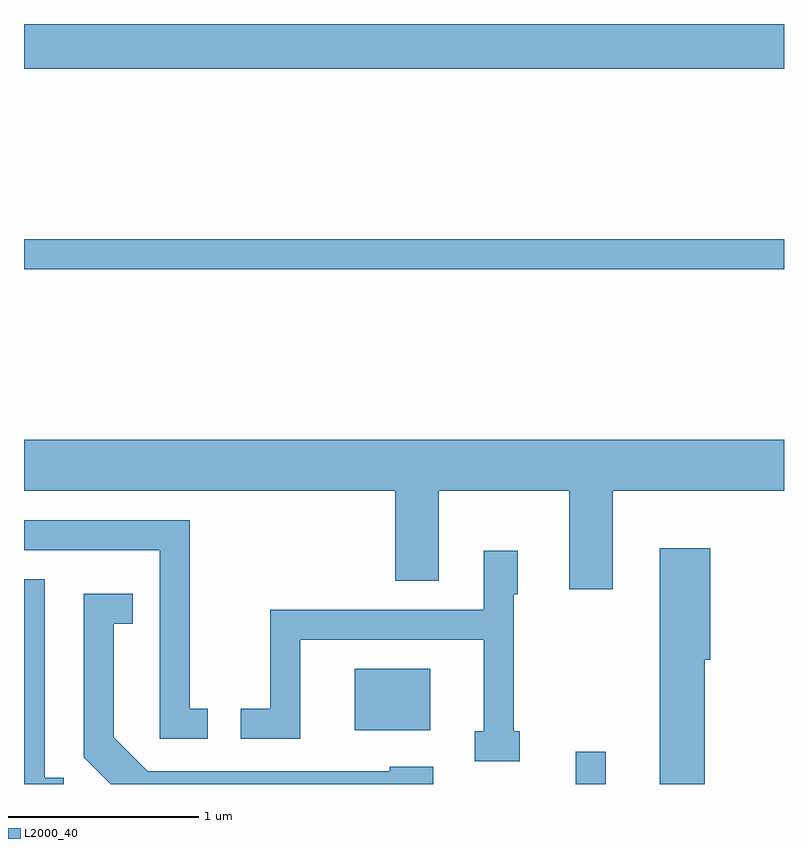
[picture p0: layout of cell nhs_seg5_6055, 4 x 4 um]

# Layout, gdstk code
import gdstk
lib = gdstk.Library(unit=1e-6, precision=1e-09)
def R(c, l, rs):  # rectangles x0, y0, x1, y1
    for r in rs: c.add(gdstk.rectangle(r[:2], r[2:], *l))
def P(c, l, *ps):  # polygons
    for p in ps: c.add(gdstk.Polygon(p, *l))
L2000_40 = (2000, 40)

nhs_seg5_6055 = lib.new_cell('nhs_seg5_6055')
R(nhs_seg5_6055, L2000_40, [(366.516,1524.072,366.674,1524.243), (365.351,1524.356,365.749,1524.679), (363.611,1526.781,367.611,1526.939), (363.611,1527.836,367.611,1528.072)])
P(nhs_seg5_6055, L2000_40, [(366.709,1525.616),(367.611,1525.616),(367.611,1525.884),(363.611,1525.884),(363.611,1525.616),(365.566,1525.616),(365.566,1525.141),(365.794,1525.141),(365.794,1525.616),(366.481,1525.616),(366.481,1525.096),(366.709,1525.096)],
  [(364.578,1524.469),(364.484,1524.469),(364.484,1525.459),(363.611,1525.459),(363.611,1525.301),(364.326,1525.301),(364.326,1524.311),(364.578,1524.311)],
  [(367.194,1524.726),(367.224,1524.726),(367.224,1525.314),(366.956,1525.314),(366.956,1524.072),(367.194,1524.072)],
  [(366.219,1524.349),(366.189,1524.349),(366.189,1525.071),(366.209,1525.071),(366.209,1525.299),(366.031,1525.299),(366.031,1524.989),(364.906,1524.989),(364.906,1524.469),(364.753,1524.469),(364.753,1524.311),(365.064,1524.311),(365.064,1524.831),(366.031,1524.831),(366.031,1524.349),(365.983,1524.349),(365.983,1524.191),(366.219,1524.191)],
  [(363.819,1524.104),(363.719,1524.104),(363.719,1525.149),(363.611,1525.149),(363.611,1524.072),(363.819,1524.072)],
  [(365.764,1524.164),(365.536,1524.164),(365.536,1524.139),(364.262,1524.139),(364.084,1524.317),(364.084,1524.916),(364.183,1524.916),(364.183,1525.074),(363.926,1525.074),(363.926,1524.214),(364.068,1524.072),(365.764,1524.072)])

lib.write_gds('nhs_seg5_6055.gds')
